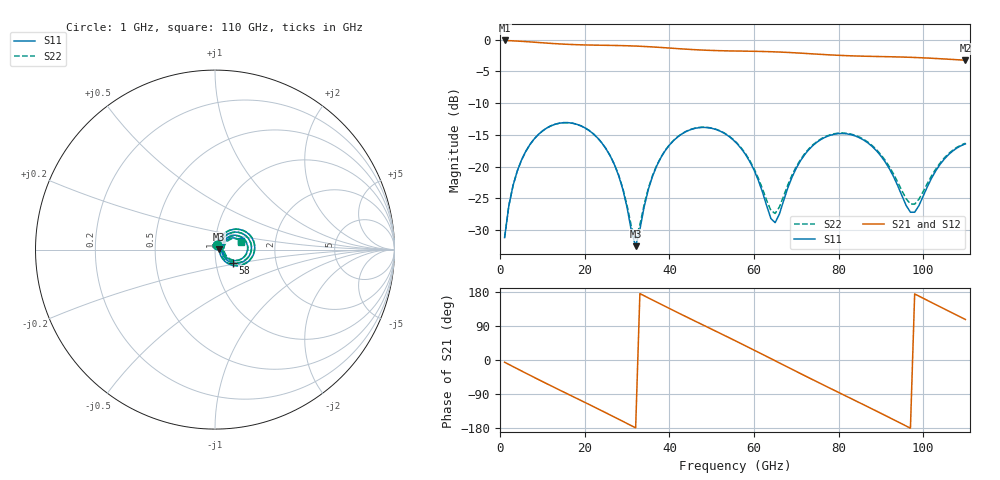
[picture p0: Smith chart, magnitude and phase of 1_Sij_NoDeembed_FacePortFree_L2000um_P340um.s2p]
! Touchstone file exported from HFSS 2024.2.0
!  File:  C:/Users/vaintrug/Documents/Ansoft_Workspace/Comparaison_Calculs_HFSS/1_VarPort.aedt
!  Generated:  03:22:19 PM Jan 21, 2025
!  Design:  1_NoDeembed_FacePortFree
!  Project:  1_VarPort
!  Setup:  Setup1
!  Solution:  Sweep
! Variables:
!  $Lenght = 2000um
!  $PortSize = 340um
!  Gap = 30um
!  Th = 2um
!  X_centralStrip = 20um
!  X_masse = 200um
!  Y_Sub = 2mm
!  Z_Box = 400um
!  Z_Sub = 200um
# GHz S MA R 50.000000
! Terminal data exported
! Port[1] = 1
! Port[2] = 2
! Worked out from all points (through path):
!   110 points, 1 GHz to 110 GHz, reference 50 ohm
!   highest |S21| = -0.13 dB at 1 GHz (marker M1); lowest = -3.2 dB at 110 GHz (marker M2)
!   group delay of S21, straight-line fit = 15.4 ps
!   lowest |S11| = -32.5 dB at 32 GHz (marker M3), VSWR 1.05, Z = 52.4 + j0.185 ohm
!   |S11| at or under -10 dB: start of sweep to end of sweep
!   |S22| runs from -31.3 to -13.1 dB; largest |S21 - S12| = 2e-15
!   S11 on the Smith chart (normalised r, x): 1 GHz: 1.03, +0.05; 58 GHz: 1.21, -0.18; 110 GHz: 1.33, +0.12
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1  0.02758 61.2  0.9854 -5.9  0.9854 -5.9  0.02758 61.2
! Gamma 5.93371394550663 49.7769479107915 6.0131572149326 50.013058666695
! Port Impedance 50 0 50 0
3  0.07101 65.7  0.9784 -17.4  0.9784 -17.4  0.07099 65.8
7  0.1492 48.7  0.9601 -40.3  0.9601 -40.3  0.1492 48.9
13  0.2158 17.8  0.9298 -73.7  0.9298 -73.7  0.2158 18.2
20  0.2018 -17.5  0.9087 -112.0  0.9087 -112.0  0.202 -16.6
27  0.103 -47.7  0.9 -150.8  0.9 -150.8  0.1037 -45.6
32  0.0236 4.3  0.89 -179.1  0.89 -179.1  0.02711 4.8
35  0.06597 55.5  0.88 163.9  0.88 163.9  0.06746 53.3
38  0.1181 49.2  0.8676 147.0  0.8676 147.0  0.1191 48.3
43  0.1814 28.0  0.8452 119.3  0.8452 119.3  0.1821 28.0
47  0.2027 9.6  0.8303 97.5  0.8303 97.5  0.2034 10.0
51  0.196 -8.7  0.8201 75.8  0.8201 75.8  0.1969 -7.8
56  0.1513 -29.8  0.8134 48.4  0.8134 48.4  0.1527 -27.9
58  0.1243 -36.7  0.8115 37.3  0.8115 37.3  0.1261 -34.2
65  0.03616 7.0  0.801 -2.0  0.801 -2.0  0.04274 6.4
70  0.09723 44.2  0.7864 -30.2  0.7864 -30.2  0.09997 41.2
74  0.1472 32.3  0.7721 -52.5  0.7721 -52.5  0.1491 30.7
83  0.1782 -5.0  0.7457 -102.0  0.7457 -102.0  0.18 -4.8
92  0.09636 -34.4  0.7334 -151.8  0.7334 -151.8  0.09992 -31.9
98  0.04369 10.7  0.7236 174.4  0.7236 174.4  0.0506 8.2
104  0.1039 36.8  0.7074 140.4  0.7074 140.4  0.1066 33.3
110  0.1511 17.6  0.6888 106.9  0.6888 106.9  0.1526 15.8
